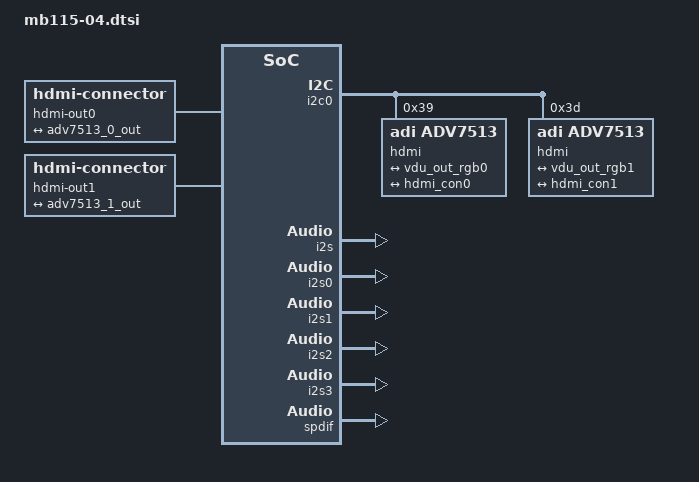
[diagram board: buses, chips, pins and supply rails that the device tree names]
/*
*
* Device Tree Source for RCM MB115.04 extention board ( Video and audio output module )
*
*/
/ {

	// HDMI channel 0 for DRM drivers
	hdmi-out0 {
		compatible = "hdmi-connector";
		type = "a";

		port {
			hdmi_con0: endpoint {
				remote-endpoint = <&adv7513_0_out>;
			};
		};
	};

	// HDM channel 1 for DRM drivers
	hdmi-out1 {
		compatible = "hdmi-connector";
		type = "a";

		port {
			hdmi_con1: endpoint {
				remote-endpoint = <&adv7513_1_out>;
			};
		};
	};

	plb {
		lsif1 {
			i2c0: i2c@0x3C05A000 {
				status = "ok";

				// HDMI channel 0 for fbdev and v4l2 drivers
				// adv7513_0: adv7513@39 {
				// 	compatible = "rcm,rcm-adv7513";
				// 	reg = <0x39>;
				// };

				// HDMI channel 1 for fbdev and v4l2 drivers
				// adv7513_1: adv7513@3d {
				// 	compatible = "rcm,rcm-adv7513";
				// 	reg = <0x3D>;
				// };

				// HDMI channel 0 for DRM drivers
				hdmi@39 {
					compatible = "adi,adv7513";
					reg = <0x39>, <0x29>, <0x49>, <0x59>;
					reg-names = "main", "cec", "edid", "packet";

					adi,input-depth = <8>;
					adi,input-colorspace = "yuv444";
					adi,input-clock = "1x";
					adi,input-style = <1>;
					adi,input-justification = "evenly";

					ports {
						#address-cells = <1>;
						#size-cells = <0>;

						port@0 {
							reg = <0>;
							adv7513_0_in: endpoint {
								remote-endpoint = <&vdu_out_rgb0>;
							};
						};

						port@1 {
							reg = <1>;
							adv7513_0_out: endpoint {
								remote-endpoint = <&hdmi_con0>;
							};
						};
					};
				};

				// HDMI channel 1 for DRM drivers
				hdmi@3d {
					compatible = "adi,adv7513";
					reg = <0x3d>, <0x2d>, <0x6d>, <0x5d>;
					reg-names = "main", "cec", "edid", "packet";

					adi,input-depth = <8>;
					adi,input-colorspace = "yuv444";
					adi,input-clock = "1x";
					adi,input-style = <1>;
					adi,input-justification = "evenly";

					ports {
						#address-cells = <1>;
						#size-cells = <0>;

						port@0 {
							reg = <0>;
							adv7513_1_in: endpoint {
								remote-endpoint = <&vdu_out_rgb1>;
							};
						};

						port@1 {
							reg = <1>;
							adv7513_1_out: endpoint {
								remote-endpoint = <&hdmi_con1>;
							};
						};
					};
				};
			};
		};

		mms {
			i2s: i2s@0x39080000 {
				status = "ok";
			};
			i2s0: i2s@0 {
				status = "ok";
			};
			i2s1: i2s@1 {
				status = "ok";
			};
			i2s2: i2s@2 {
				status = "ok";
			};
			i2s3: i2s@3 {
				status = "ok";
			};
			spdif: spdif@0x39080000 {
				status = "ok";
			};
			audio_dma: audio_dma@0x38017000 {
				status = "ok";
			};

			sound {
				// status = "ok";
				compatible = "simple-audio-card";
				simple-audio-card,name = "RCM Audio";
				#address-cells = <1>;
				#size-cells = <0>;
				#sound-dai-cells = <0>;

				simple-audio-card,dai-link@0 { // I2S0 - cs4384_0
					reg = <0>;
					format = "i2s";
					cpu {
						sound-dai = <&i2s0>;
					};
					codec {
						sound-dai = <&cs4384 0>;
					};
				};
				simple-audio-card,dai-link@1 { // I2S1 - cs4384_1
					reg = <1>;
					format = "i2s";
					cpu {
						sound-dai = <&i2s1>;
					};
					codec {
						sound-dai = <&cs4384 1>;
					};
				};
				simple-audio-card,dai-link@2 { // I2S2 - cs4384_2
					reg = <2>;
					format = "i2s";
					cpu {
						sound-dai = <&i2s2>;
					};
					codec {
						sound-dai = <&cs4384 2>;
					};
				};
				simple-audio-card,dai-link@3 { // I2S3 - cs4384_3
					reg = <3>;
					format = "i2s";
					cpu {
						sound-dai = <&i2s3>;
					};
					codec {
						sound-dai = <&cs4384 3>;
					};
				};

				simple-audio-card,dai-link@4 { // spdif
					reg = <4>;
					cpu {
						sound-dai = <&spdif>;
					};
					codec {
						sound-dai = <&spdif_out>;
					};
				};
			};

			spdif_out: spdif-out {
				#sound-dai-cells = <0>;
				compatible = "linux,spdif-dit";
			};

			// HDMI channel 0 for old FB/V4L2 drivers (actually VDU index 1)
			// vdu0: vdu@0x38013000 {
			// 	status = "ok";
			// };

			// HDMI channel 1 for old FB/V4L2 drivers (actually VDU index 0)
			// vdu1: vdu@0x38011000 {
			// 	status = "ok";
			// };

			// HDMI channel 0 for DRM drivers (actually VDU index 1)
			vdu0_drm: vdu@38013000 {
				status = "ok";
				output-color-space = "yuv444";
				max-width = <1280>;
				max-height = <720>;
				ports {
					port@0 {
						vdu_out_rgb0: endpoint@0 {
							remote-endpoint = <&adv7513_0_in>;
						};
					};
				};
			};

			// HDMI channel 1 for DRM drivers (actually VDU index 0)
			vdu1_drm: vdu@38011000 {
				status = "ok";
				output-color-space = "yuv444";
				max-width = <1280>;
				max-height = <720>;
				ports {
					port@0 {
						vdu_out_rgb1: endpoint@0 {
							remote-endpoint = <&adv7513_1_in>;
						};
					};
				};
			};
		};
	};
};
